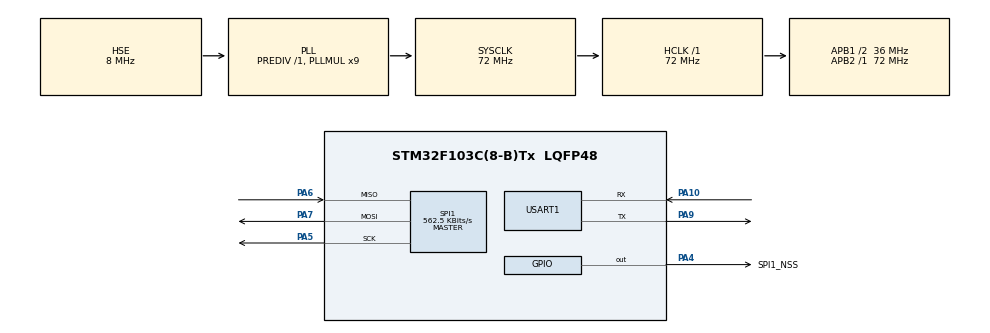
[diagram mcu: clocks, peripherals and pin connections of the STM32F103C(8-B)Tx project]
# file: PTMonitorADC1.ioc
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Mcu.Family=STM32F1
Mcu.Name=STM32F103C(8-B)Tx
Mcu.Package=LQFP48
NVIC.PriorityGroup=NVIC_PRIORITYGROUP_4
PA10.Mode=Asynchronous
PA10.Signal=USART1_RX
PA13.Mode=Serial_Wire
PA13.Signal=SYS_JTMS-SWDIO
PA14.Mode=Serial_Wire
PA14.Signal=SYS_JTCK-SWCLK
PA4.GPIO_Label=SPI1_NSS
PA4.PinState=GPIO_PIN_SET
PA4.Signal=GPIO_Output
PA5.Mode=Full_Duplex_Master
PA5.Signal=SPI1_SCK
PA6.Mode=Full_Duplex_Master
PA6.Signal=SPI1_MISO
PA7.Mode=Full_Duplex_Master
PA7.Signal=SPI1_MOSI
PA9.Mode=Asynchronous
PA9.Signal=USART1_TX
PD0-OSC_IN.Mode=HSE-External-Oscillator
PD0-OSC_IN.Signal=RCC_OSC_IN
PD1-OSC_OUT.Mode=HSE-External-Oscillator
PD1-OSC_OUT.Signal=RCC_OSC_OUT
ProjectManager.HeapSize=0x200
ProjectManager.StackSize=0x400
ProjectManager.TargetToolchain=SW4STM32
RCC.AHBFreq_Value=72000000
RCC.APB1CLKDivider=RCC_HCLK_DIV2
RCC.APB1Freq_Value=36000000
RCC.APB1TimFreq_Value=72000000
RCC.APB2Freq_Value=72000000
RCC.APB2TimFreq_Value=72000000
RCC.HCLKFreq_Value=72000000
RCC.PLLMUL=RCC_PLL_MUL9
RCC.PLLSourceVirtual=RCC_PLLSOURCE_HSE
RCC.SYSCLKFreq_VALUE=72000000
RCC.SYSCLKSource=RCC_SYSCLKSOURCE_PLLCLK
RCC.USBFreq_Value=72000000
SPI1.BaudRatePrescaler=SPI_BAUDRATEPRESCALER_128
SPI1.CalculateBaudRate=562.5 KBits/s
SPI1.Direction=SPI_DIRECTION_2LINES
SPI1.Mode=SPI_MODE_MASTER
SPI1.VirtualType=VM_MASTER
USART1.VirtualMode=VM_ASYNC
board=custom

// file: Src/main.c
/* USER CODE BEGIN Header */
/**
  ******************************************************************************
  * @file           : main.c
  * @brief          : Main program body
  ******************************************************************************
  ** This notice applies to any and all portions of this file
  * that are not between comment pairs USER CODE BEGIN and
  * USER CODE END. Other portions of this file, whether
  * inserted by the user or by software development tools
  * are owned by their respective copyright owners.
  *
  * COPYRIGHT(c) 2019 STMicroelectronics
  *
  * Redistribution and use in source and binary forms, with or without modification,
  * are permitted provided that the following conditions are met:
  *   1. Redistributions of source code must retain the above copyright notice,
  *      this list of conditions and the following disclaimer.
  *   2. Redistributions in binary form must reproduce the above copyright notice,
  *      this list of conditions and the following disclaimer in the documentation
  *      and/or other materials provided with the distribution.
  *   3. Neither the name of STMicroelectronics nor the names of its contributors
  *      may be used to endorse or promote products derived from this software
  *      without specific prior written permission.
  *
  * THIS SOFTWARE IS PROVIDED BY THE COPYRIGHT HOLDERS AND CONTRIBUTORS "AS IS"
  * AND ANY EXPRESS OR IMPLIED WARRANTIES, INCLUDING, BUT NOT LIMITED TO, THE
  * IMPLIED WARRANTIES OF MERCHANTABILITY AND FITNESS FOR A PARTICULAR PURPOSE ARE
  * DISCLAIMED. IN NO EVENT SHALL THE COPYRIGHT HOLDER OR CONTRIBUTORS BE LIABLE
  * FOR ANY DIRECT, INDIRECT, INCIDENTAL, SPECIAL, EXEMPLARY, OR CONSEQUENTIAL
  * DAMAGES (INCLUDING, BUT NOT LIMITED TO, PROCUREMENT OF SUBSTITUTE GOODS OR
  * SERVICES; LOSS OF USE, DATA, OR PROFITS; OR BUSINESS INTERRUPTION) HOWEVER
  * CAUSED AND ON ANY THEORY OF LIABILITY, WHETHER IN CONTRACT, STRICT LIABILITY,
  * OR TORT (INCLUDING NEGLIGENCE OR OTHERWISE) ARISING IN ANY WAY OUT OF THE USE
  * OF THIS SOFTWARE, EVEN IF ADVISED OF THE POSSIBILITY OF SUCH DAMAGE.
  *
  ******************************************************************************
  */
/* USER CODE END Header */

#include "main.h"

/* USER CODE BEGIN Includes */
#include <string.h>
#include "AD4111.h"
#include <math.h>
/* USER CODE END Includes */

SPI_HandleTypeDef hspi1;

UART_HandleTypeDef huart1;

/* USER CODE BEGIN PV */
double currentValues[AD4111_USED_CHANNELS] = {0};
/* USER CODE END PV */

void SystemClock_Config(void);
static void MX_GPIO_Init(void);
static void MX_USART1_UART_Init(void);
static void MX_SPI1_Init(void);
/* USER CODE BEGIN PFP */
static void Print_Double(uint8_t channel, double value);
double Moving_Average(double avg, double value);
/* USER CODE END PFP */

int main(void)
{

  /* MCU Configuration--------------------------------------------------------*/

  /* Reset of all peripherals, Initializes the Flash interface and the Systick. */
  HAL_Init();

  /* Configure the system clock */
  SystemClock_Config();

  /* Initialize all configured peripherals */
  MX_GPIO_Init();
  MX_USART1_UART_Init();
  MX_SPI1_Init();

  /* Infinite loop */
  char err_msg[16];
  sprintf(err_msg, "reg error\n");
  int counter = 0;
  double data = 0;
  AD4111_Reading_t reading;
#pragma clang diagnostic push
#pragma clang diagnostic ignored "-Wmissing-noreturn"
  AD4111_Setup(&hspi1);
  while (1) {
    if ((counter % 100) == 0){
      if (!AD4111_CheckRegisters(&hspi1)){
        AD4111_Setup(&hspi1);
        HAL_UART_Transmit(&huart1, err_msg, strlen(err_msg), 100);
      }
      for (int i=0; i<AD4111_USED_CHANNELS; i++){
        Print_Double(i, currentValues[i]);
      }
    }
    counter++;
    reading = AD4111_ReadData(&hspi1);
    data = AD4111_ConvertDoubleSided(reading.data);
    if (data) {
      currentValues[reading.channel] = Moving_Average(currentValues[reading.channel], data);
    }

    HAL_Delay(1);
    /* USER CODE END WHILE */

  }
}

void SystemClock_Config(void)
{
  RCC_OscInitTypeDef RCC_OscInitStruct = {0};
  RCC_ClkInitTypeDef RCC_ClkInitStruct = {0};

  /**Initializes the CPU, AHB and APB busses clocks
  */
  RCC_OscInitStruct.OscillatorType = RCC_OSCILLATORTYPE_HSE;
  RCC_OscInitStruct.HSEState = RCC_HSE_ON;
  RCC_OscInitStruct.HSEPredivValue = RCC_HSE_PREDIV_DIV1;
  RCC_OscInitStruct.HSIState = RCC_HSI_ON;
  RCC_OscInitStruct.PLL.PLLState = RCC_PLL_ON;
  RCC_OscInitStruct.PLL.PLLSource = RCC_PLLSOURCE_HSE;
  RCC_OscInitStruct.PLL.PLLMUL = RCC_PLL_MUL9;
  if (HAL_RCC_OscConfig(&RCC_OscInitStruct) != HAL_OK)
  {
    Error_Handler();
  }
  /**Initializes the CPU, AHB and APB busses clocks
  */
  RCC_ClkInitStruct.ClockType = RCC_CLOCKTYPE_HCLK|RCC_CLOCKTYPE_SYSCLK
                              |RCC_CLOCKTYPE_PCLK1|RCC_CLOCKTYPE_PCLK2;
  RCC_ClkInitStruct.SYSCLKSource = RCC_SYSCLKSOURCE_PLLCLK;
  RCC_ClkInitStruct.AHBCLKDivider = RCC_SYSCLK_DIV1;
  RCC_ClkInitStruct.APB1CLKDivider = RCC_HCLK_DIV2;
  RCC_ClkInitStruct.APB2CLKDivider = RCC_HCLK_DIV1;

  if (HAL_RCC_ClockConfig(&RCC_ClkInitStruct, FLASH_LATENCY_2) != HAL_OK)
  {
    Error_Handler();
  }
}

static void MX_SPI1_Init(void)
{

  /* SPI1 parameter configuration*/
  hspi1.Instance = SPI1;
  hspi1.Init.Mode = SPI_MODE_MASTER;
  hspi1.Init.Direction = SPI_DIRECTION_2LINES;
  hspi1.Init.DataSize = SPI_DATASIZE_8BIT;
  hspi1.Init.CLKPolarity = SPI_POLARITY_LOW;
  hspi1.Init.CLKPhase = SPI_PHASE_1EDGE;
  hspi1.Init.NSS = SPI_NSS_SOFT;
  hspi1.Init.BaudRatePrescaler = SPI_BAUDRATEPRESCALER_128;
  hspi1.Init.FirstBit = SPI_FIRSTBIT_MSB;
  hspi1.Init.TIMode = SPI_TIMODE_DISABLE;
  hspi1.Init.CRCCalculation = SPI_CRCCALCULATION_DISABLE;
  hspi1.Init.CRCPolynomial = 10;
  if (HAL_SPI_Init(&hspi1) != HAL_OK)
  {
    Error_Handler();
  }

}

static void MX_USART1_UART_Init(void)
{

  huart1.Instance = USART1;
  huart1.Init.BaudRate = 115200;
  huart1.Init.WordLength = UART_WORDLENGTH_8B;
  huart1.Init.StopBits = UART_STOPBITS_1;
  huart1.Init.Parity = UART_PARITY_NONE;
  huart1.Init.Mode = UART_MODE_TX_RX;
  huart1.Init.HwFlowCtl = UART_HWCONTROL_NONE;
  huart1.Init.OverSampling = UART_OVERSAMPLING_16;
  if (HAL_UART_Init(&huart1) != HAL_OK)
  {
    Error_Handler();
  }

}

static void MX_GPIO_Init(void)
{
  GPIO_InitTypeDef GPIO_InitStruct = {0};

  /* GPIO Ports Clock Enable */
  __HAL_RCC_GPIOD_CLK_ENABLE();
  __HAL_RCC_GPIOA_CLK_ENABLE();

  /*Configure GPIO pin Output Level */
  HAL_GPIO_WritePin(SPI1_NSS_GPIO_Port, SPI1_NSS_Pin, GPIO_PIN_SET);

  /*Configure GPIO pin : SPI1_NSS_Pin */
  GPIO_InitStruct.Pin = SPI1_NSS_Pin;
  GPIO_InitStruct.Mode = GPIO_MODE_OUTPUT_PP;
  GPIO_InitStruct.Pull = GPIO_NOPULL;
  GPIO_InitStruct.Speed = GPIO_SPEED_FREQ_LOW;
  HAL_GPIO_Init(SPI1_NSS_GPIO_Port, &GPIO_InitStruct);

}

/* USER CODE BEGIN 4 */
static void Print_Double(uint8_t channel, double value) {
  char str[16];
  int tmp1, tmp2;
  double tmpf;
  value *= 1000;
  tmp1 = (int) value;
  tmpf = value - tmp1;
  tmp2 = (int) trunc(tmpf * 1000);
  sprintf(str, "IIN%d:%d.%03dmA\n", channel, tmp1, tmp2);
  HAL_UART_Transmit(&huart1, (uint8_t *) str, (uint16_t) strlen(str), 100);
}
double Moving_Average(double avg, double value){
  return ((MOVING_AVG_WINDOW-1)*avg + value)/ MOVING_AVG_WINDOW;
}
/* USER CODE END 4 */

void Error_Handler(void)
{
}

/************************ (C) COPYRIGHT STMicroelectronics *****END OF FILE****/
